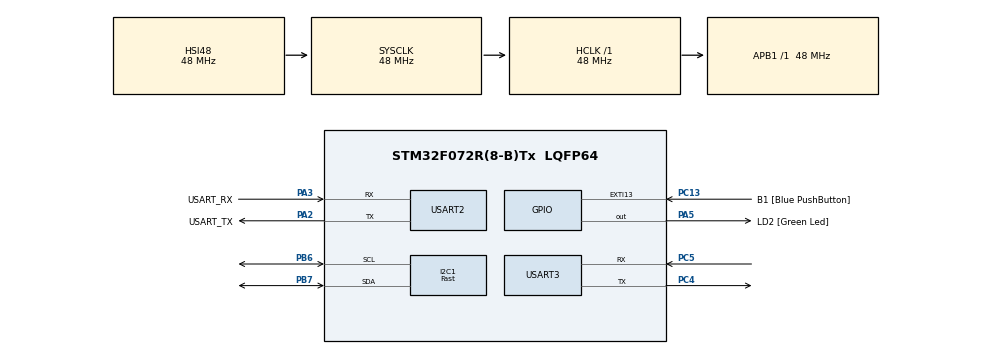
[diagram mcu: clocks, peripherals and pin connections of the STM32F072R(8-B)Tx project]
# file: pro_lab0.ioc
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I2C1.I2C_Speed_Mode=I2C_Fast
I2C1.Timing=0x0000020B
Mcu.Family=STM32F0
Mcu.Name=STM32F072R(8-B)Tx
Mcu.Package=LQFP64
NVIC.I2C1_IRQn=true\:0\:0\:false\:false\:true\:true\:true\:true
NVIC.USART3_4_IRQn=true\:0\:0\:false\:false\:true\:true\:true\:true
PA13.GPIO_Label=TMS
PA13.Mode=Serial_Wire
PA13.Signal=SYS_SWDIO
PA14.GPIO_Label=TCK
PA14.Mode=Serial_Wire
PA14.Signal=SYS_SWCLK
PA2.GPIO_Label=USART_TX
PA2.GPIO_Mode=GPIO_MODE_AF_PP
PA2.GPIO_PuPd=GPIO_NOPULL
PA2.GPIO_Speed=GPIO_SPEED_FREQ_LOW
PA2.Mode=Asynchronous
PA2.Signal=USART2_TX
PA3.GPIO_Label=USART_RX
PA3.GPIO_Mode=GPIO_MODE_AF_PP
PA3.GPIO_PuPd=GPIO_NOPULL
PA3.GPIO_Speed=GPIO_SPEED_FREQ_LOW
PA3.Mode=Asynchronous
PA3.Signal=USART2_RX
PA5.GPIO_Label=LD2 [Green Led]
PA5.GPIO_Mode=GPIO_MODE_OUTPUT_PP
PA5.GPIO_PuPd=GPIO_NOPULL
PA5.GPIO_Speed=GPIO_SPEED_FREQ_LOW
PA5.Signal=GPIO_Output
PB6.Mode=I2C
PB6.Signal=I2C1_SCL
PB7.Mode=I2C
PB7.Signal=I2C1_SDA
PC13.GPIO_Label=B1 [Blue PushButton]
PC13.GPIO_ModeDefaultEXTI=GPIO_MODE_IT_FALLING
PC13.Signal=GPXTI13
PC14-OSC32_IN.Mode=LSE-External-Oscillator
PC14-OSC32_IN.Signal=RCC_OSC32_IN
PC15-OSC32_OUT.Mode=LSE-External-Oscillator
PC15-OSC32_OUT.Signal=RCC_OSC32_OUT
PC4.Mode=Asynchronous
PC4.Signal=USART3_TX
PC5.Mode=Asynchronous
PC5.Signal=USART3_RX
PF0-OSC_IN.Mode=HSE-External-Clock-Source
PF0-OSC_IN.Signal=RCC_OSC_IN
PF1-OSC_OUT.Signal=RCC_OSC_OUT
ProjectManager.HeapSize=0x200
ProjectManager.StackSize=0x400
ProjectManager.TargetToolchain=MDK-ARM V5.32
RCC.AHBFreq_Value=48000000
RCC.APB1Freq_Value=48000000
RCC.APB1TimFreq_Value=48000000
RCC.FLatency-AdvancedSettings=FLASH_LATENCY_1
RCC.HCLKFreq_Value=48000000
RCC.PLLDivider=RCC_PREDIV_DIV2
RCC.PLLMUL=RCC_PLL_MUL12
RCC.PREFETCH_ENABLE-AdvancedSettings=1
RCC.SYSCLKFreq_VALUE=48000000
RCC.SYSCLKSource=RCC_SYSCLKSOURCE_HSI48
USART2.VirtualMode=VM_ASYNC
USART2.VirtualMode-Asynchronous=VM_ASYNC
USART3.VirtualMode-Asynchronous=VM_ASYNC
board=NUCLEO-F072RB

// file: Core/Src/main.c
/* USER CODE BEGIN Header */
/**
  ******************************************************************************
  * @file           : main.c
  * @brief          : Main program body
  ******************************************************************************
  * @attention
  *
  * Copyright (c) 2023 STMicroelectronics.
  * All rights reserved.
  *
  * This software is licensed under terms that can be found in the LICENSE file
  * in the root directory of this software component.
  * If no LICENSE file comes with this software, it is provided AS-IS.
  *
  ******************************************************************************
  */
/* USER CODE END Header */
#include "main.h"

/* USER CODE BEGIN PD */
#define MAX86150_Addr 0xBC //updated per I2Cscanner, 8 bit version of 7 bit code 0x5E
#define InterruptStatusReg1 0x00 //Interrupt status byte 0 (read both bytes 0x00 and 0x01 when checking int status)
#define InterruptStatusReg2 0x01
#define InterruptEnableReg1 0x02 //Interrupt enable byte 0
#define InterruptEnableReg2 0x03
#define FIFOWritePointerReg 0x04
#define OverflowCounterReg 0x05
#define FIFOReadPointerReg 0x06
#define FIFODataReg 0x07
#define FIFOConfigReg 0x08
#define FIFODataControlReg1 0x09
#define FIFODataControlReg2 0x0A
#define SystemControlReg 0x0D
#define ppgConfigReg0 0x0E
#define ppgConfigReg1 0x0F
#define ProxIntThreshReg 0x10
#define LED1PulseAmpReg 0x11
#define LED2PulseAmpReg 0x12
#define LEDRangeReg 0x14
#define LEDPilotPAReg 0x15
#define EcgConfigReg1 0x3C
#define EcgConfigReg2 0x3D
#define EcgConfigReg3 0x3E
#define EcgConfigReg4 0x3F
#define PartIDReg 0xFF
#define maxi2cFreq 1000000
#define recommendedi2cFreq 400000
#define interrupt_pin D12 //INTB pin --see InterruptIn declaration
#define maxECGrate 0
#define normECGrate 1
/* USER CODE END PD */

I2C_HandleTypeDef hi2c1;

UART_HandleTypeDef huart2;
UART_HandleTypeDef huart3;

void SystemClock_Config(void);
static void MX_GPIO_Init(void);
static void MX_I2C1_Init(void);
static void MX_USART2_UART_Init(void);
static void MX_USART3_UART_Init(void);
/* USER CODE BEGIN PFP */
	uint8_t Data[] = "123";
	float aaa = 0;
uint8_t tran[4];
int j;
/* USER CODE END PFP */

int main(void)
{
  /* USER CODE BEGIN 1 */
	uint8_t p[2];

	uint8_t start[3]={'o','k','\n'};
	uint8_t dd[3] = {'d','i','\n'};
	uint8_t buf[12]={0}; //receive data buffer
	uint32_t Elem[3];
	uint8_t pp=0 ;
	float ppg;
	float ecg;
	union Float_c {
		float m_float;
		uint8_t m_bytes[sizeof(float)];
	};
	union Float_c myFloat;
	int i;
	uint8_t dda=0x01;
  /* USER CODE END 1 */

  /* MCU Configuration--------------------------------------------------------*/

  /* Reset of all peripherals, Initializes the Flash interface and the Systick. */
  HAL_Init();

  /* Configure the system clock */
  SystemClock_Config();

  /* Initialize all configured peripherals */
  MX_GPIO_Init();
  MX_I2C1_Init();
  MX_USART2_UART_Init();
  MX_USART3_UART_Init();
  /* USER CODE BEGIN 2 */
//	HAL_I2C_Master_Transmit(&hi2c1,0xBC,p,2,100);
//  HAL_UARTEx_ReceiveToIdle_IT(&huart3, Data, 64);

	p[0]=0x0;
	p[1]=0;
//	if(HAL_I2C_Master_Transmit(&hi2c1,0x5e,p,2,100)==HAL_OK)
//	{
//		//if transmit is success, the function will
//		HAL_UART_Transmit(&huart3,start,3,100);
//		aaa = 5;
//		HAL_Delay(1000);
//	}

	HAL_I2C_Mem_Write(&hi2c1,0xbc,0x0d,1,&dda,1,100);
	HAL_Delay(3);
	dda = 0x04;
	HAL_I2C_Mem_Write(&hi2c1,0xbc,0x0d,1,&dda,1,100);
	dda = 0x09;
	HAL_I2C_Mem_Write(&hi2c1,0xbc,0x09,1,&dda,1,100);
	dda = 0x00;
	HAL_I2C_Mem_Write(&hi2c1,0xbc,0x0A,1,&dda,1,100);
	dda = 0X00;
	HAL_I2C_Mem_Write(&hi2c1,0xbc,0x3E,1,&dda,1,100);
	dda = 0xff;
	HAL_I2C_Mem_Write(&hi2c1,0xbc,0x11,1,&dda,1,100);
	HAL_I2C_Mem_Write(&hi2c1,0xbc,0x12,1,&dda,1,100);
	HAL_I2C_Mem_Write(&hi2c1,0xbc,0x15,1,&dda,1,100);
	dda = 0x80;
	HAL_I2C_Mem_Write(&hi2c1,0xbc,0x02,1,&dda,1,100);
////	dda = 0x04;
////	while(HAL_I2C_Mem_Write(&hi2c1,0xbc,0x0d,1,&dda,1,100)!=HAL_OK)	;//HAL_UART_Transmit(&huart3,(uint8_t*)("1"),2,100);
////	//HAL_Delay(10);
////	dda = 0x10;
////	while(HAL_I2C_Mem_Write(&hi2c1,0xbc,0x09,1,&dda,1,100)!=HAL_OK)	;//HAL_UART_Transmit(&huart3,(uint8_t*)("1"),2,100);
////	//HAL_Delay(10);
////	dda = 0x09;
////	while(HAL_I2C_Mem_Write(&hi2c1,0xbc,0x0A,1,&dda,1,100)!=HAL_OK)	;//HAL_UART_Transmit(&huart3,(uint8_t*)("1"),2,100);
////	//HAL_Delay(10);
////	dda = 0X00;
////	while(HAL_I2C_Mem_Write(&hi2c1,0xbc,0x3E,1,&dda,1,100)!=HAL_OK)	;//HAL_UART_Transmit(&huart3,(uint8_t*)("1"),2,100);
////	//HAL_Delay(10);
////	dda = 0xff;
////	while(HAL_I2C_Mem_Write(&hi2c1,0xbc,0x11,1,&dda,1,100)!=HAL_OK)	;//HAL_UART_Transmit(&huart3,(uint8_t*)("1"),2,100);
////	dda = 0xff;
////	while(HAL_I2C_Mem_Write(&hi2c1,0xbc,0x12,1,&dda,1,100)!=HAL_OK)	;//HAL_UART_Transmit(&huart3,(uint8_t*)("1"),2,100);
////	dda = 0xff;
////	while(HAL_I2C_Mem_Write(&hi2c1,0xbc,0x15,1,&dda,1,100)!=HAL_OK)	;//HAL_UART_Transmit(&huart3,(uint8_t*)("1"),2,100);	//HAL_Delay(10);
////	dda = 0x80;
////	while(HAL_I2C_Mem_Write(&hi2c1,0xbc,0x02,1,&dda,1,100)!=HAL_OK)	;//HAL_UART_Transmit(&huart3,(uint8_t*)("1"),2,100);
//	if(HAL_I2C_Mem_Write(&hi2c1,0xbc,0x0d,1,&dda,1,100)==HAL_OK)	HAL_UART_Transmit(&huart3,(uint8_t*)("1"),2,100);
//	HAL_Delay(10);
//	dda = 0x01;
//	if(HAL_I2C_Mem_Write(&hi2c1,0xbc,0x08,1,&dda,1,100)==HAL_OK)	HAL_UART_Transmit(&huart3,(uint8_t*)("2"),2,100);
//	HAL_Delay(10);
//	dda = 0x10;
//	if(HAL_I2C_Mem_Write(&hi2c1,0xbc,0x09,1,&dda,1,100)==HAL_OK)	HAL_UART_Transmit(&huart3,(uint8_t*)("3"),2,100);
//	HAL_Delay(10);
//	dda = 0x09;
//	if(HAL_I2C_Mem_Write(&hi2c1,0xbc,0x0A,1,&dda,1,100)==HAL_OK)	HAL_UART_Transmit(&huart3,(uint8_t*)("4"),2,100);
//	HAL_Delay(10);
//	dda = 0x05;
//	if(HAL_I2C_Mem_Write(&hi2c1,0xbc,0x14,1,&dda,1,100)==HAL_OK)	HAL_UART_Transmit(&huart3,(uint8_t*)("5"),2,100);
//	HAL_Delay(10);
//	dda = 0x00;
//	if(HAL_I2C_Mem_Write(&hi2c1,0xbc,0x3E,1,&dda,1,100)==HAL_OK)	HAL_UART_Transmit(&huart3,(uint8_t*)("5"),2,100);
//	HAL_Delay(10);
//	dda = 0x80;
//	if(HAL_I2C_Mem_Write(&hi2c1,0xbc,0x02,1,&dda,1,100)==HAL_OK)	HAL_UART_Transmit(&huart3,(uint8_t*)("6"),2,100);
//	HAL_Delay(10);

//		if(HAL_I2C_Master_Transmit(&hi2c1,0xbc,(uint8_t*)(0x0d04),2,100)==HAL_OK) HAL_UART_Transmit(&huart3,(uint8_t*)("12"),3,100);
//	HAL_Delay(10);
//	if(HAL_I2C_Master_Transmit(&hi2c1,0xbc,(uint8_t*)(0x0801),2,100)==HAL_OK) HAL_UART_Transmit(&huart3,(uint8_t*)("12"),3,100);
//	HAL_Delay(10);
////	HAL_I2C_Master_Transmit(&hi2c1,0xbc,(uint8_t*)(0x04),2,100);
////	HAL_Delay(100);
//	HAL_I2C_Master_Transmit(&hi2c1,0xbc,(uint8_t*)(0x0910),2,100);
//	HAL_Delay(10);
////	HAL_I2C_Master_Transmit(&hi2c1,0xbc,(uint8_t*)(0x10),2,100);
////	HAL_Delay(100);
//	HAL_I2C_Master_Transmit(&hi2c1,0xbc,(uint8_t*)(0x0A09),2,100);
//	HAL_Delay(10);
////	HAL_I2C_Master_Transmit(&hi2c1,0xbc,(uint8_t*)(0x09),2,100);
////	HAL_Delay(100);
//	HAL_I2C_Master_Transmit(&hi2c1,0xbc,(uint8_t*)(0x1405),2,100);
//	HAL_Delay(10);
////	HAL_I2C_Master_Transmit(&hi2c1,0xbc,(uint8_t*)(0x05),2,100);
////	HAL_Delay(100);
//	HAL_I2C_Master_Transmit(&hi2c1,0xbc,(uint8_t*)(0x0280),2,100);
//	HAL_Delay(10);
////	HAL_I2C_Master_Transmit(&hi2c1,0xbc,(uint8_t*)(0x80),2,100);
////	HAL_Delay(100);
//

// // HAL_UARTEx_ReceiveToIdle_IT(&huart4, Data, 64);
  /* USER CODE END 2 */

  /* Infinite loop */
  /* USER CODE BEGIN WHILE */
	tran[0] = '1';
		tran[1] = '1';
		tran[2] = 'k';
		tran[3] = '1';

	HAL_UART_Transmit(&huart3,tran,4,100);
HAL_Delay(3000);
  while (1)
  {

		pp = 0x00;

	//	HAL_I2C_Mem_Read(&hi2c1,0xbd,0x00,1,&dda,1,100);
	//	HAL_Delay(1);
		if(HAL_I2C_Master_Transmit(&hi2c1,0xbc,&pp,1,100)==HAL_OK){//access 0x00 register
			//aaa = 50;
			//j=HAL_I2C_Master_Receive(&hi2c1,0xBD,buf,1,100);
			if(HAL_I2C_Master_Receive(&hi2c1,0xbD,&buf[0],1,100)==HAL_OK){//receive answer
				if((buf[0]&0x80)>0){//FIFO status check
					pp=7;
					if(HAL_I2C_Master_Transmit(&hi2c1,0xBc,&pp,1,100)==HAL_OK){
						if(HAL_I2C_Master_Receive(&hi2c1,0xBD,buf,9,100)==HAL_OK){
							Elem[0] = ((buf[0]<<16) | (buf[1]<<8) | buf[2]) & 0x07ffff;//IIR
							Elem[1] = ((buf[3]<<16) | (buf[4]<<8) | buf[5]) & 0x07ffff;//PPG
							Elem[2] = ((buf[6]<<16) | (buf[7]<<8) | buf[8]) & 0x03ffff;//ECG
							ppg = (float) Elem[1];
							ecg = (float) Elem[2];
							HAL_UART_Transmit(&huart3,(uint8_t*)("1"),1,100);
							myFloat.m_float=(float) ppg;
							tran[0]=myFloat.m_bytes[0];
							tran[1]=myFloat.m_bytes[1];
							tran[2]=myFloat.m_bytes[2];
							tran[3]=myFloat.m_bytes[3];
							HAL_UART_Transmit(&huart3,tran,4,100);
							myFloat.m_float=(float) ecg;
							tran[0]=myFloat.m_bytes[0];
							tran[1]=myFloat.m_bytes[1];
							tran[2]=myFloat.m_bytes[2];
							tran[3]=myFloat.m_bytes[3];
							HAL_UART_Transmit(&huart3,tran,4,100);
						}
					}
				}
			}

		}
	//	aaa = ppg;
    /* USER CODE END WHILE */

    /* USER CODE BEGIN 3 */
	//	HAL_UART_Transmit(&huart3,start,2,100);
//		HAL_Delay(1);

  }
  /* USER CODE END 3 */
}

void SystemClock_Config(void)
{
  RCC_OscInitTypeDef RCC_OscInitStruct = {0};
  RCC_ClkInitTypeDef RCC_ClkInitStruct = {0};
  RCC_PeriphCLKInitTypeDef PeriphClkInit = {0};

  /** Initializes the RCC Oscillators according to the specified parameters
  * in the RCC_OscInitTypeDef structure.
  */
  RCC_OscInitStruct.OscillatorType = RCC_OSCILLATORTYPE_HSI|RCC_OSCILLATORTYPE_HSI48;
  RCC_OscInitStruct.HSIState = RCC_HSI_ON;
  RCC_OscInitStruct.HSI48State = RCC_HSI48_ON;
  RCC_OscInitStruct.HSICalibrationValue = RCC_HSICALIBRATION_DEFAULT;
  RCC_OscInitStruct.PLL.PLLState = RCC_PLL_NONE;
  if (HAL_RCC_OscConfig(&RCC_OscInitStruct) != HAL_OK)
  {
    Error_Handler();
  }

  /** Initializes the CPU, AHB and APB buses clocks
  */
  RCC_ClkInitStruct.ClockType = RCC_CLOCKTYPE_HCLK|RCC_CLOCKTYPE_SYSCLK
                              |RCC_CLOCKTYPE_PCLK1;
  RCC_ClkInitStruct.SYSCLKSource = RCC_SYSCLKSOURCE_HSI48;
  RCC_ClkInitStruct.AHBCLKDivider = RCC_SYSCLK_DIV1;
  RCC_ClkInitStruct.APB1CLKDivider = RCC_HCLK_DIV1;

  if (HAL_RCC_ClockConfig(&RCC_ClkInitStruct, FLASH_LATENCY_1) != HAL_OK)
  {
    Error_Handler();
  }
  PeriphClkInit.PeriphClockSelection = RCC_PERIPHCLK_USART2|RCC_PERIPHCLK_I2C1;
  PeriphClkInit.Usart2ClockSelection = RCC_USART2CLKSOURCE_PCLK1;
  PeriphClkInit.I2c1ClockSelection = RCC_I2C1CLKSOURCE_HSI;
  if (HAL_RCCEx_PeriphCLKConfig(&PeriphClkInit) != HAL_OK)
  {
    Error_Handler();
  }
}

static void MX_I2C1_Init(void)
{

  hi2c1.Instance = I2C1;
  hi2c1.Init.Timing = 0x0000020B;
  hi2c1.Init.OwnAddress1 = 0;
  hi2c1.Init.AddressingMode = I2C_ADDRESSINGMODE_7BIT;
  hi2c1.Init.DualAddressMode = I2C_DUALADDRESS_DISABLE;
  hi2c1.Init.OwnAddress2 = 0;
  hi2c1.Init.OwnAddress2Masks = I2C_OA2_NOMASK;
  hi2c1.Init.GeneralCallMode = I2C_GENERALCALL_DISABLE;
  hi2c1.Init.NoStretchMode = I2C_NOSTRETCH_DISABLE;
  if (HAL_I2C_Init(&hi2c1) != HAL_OK)
  {
    Error_Handler();
  }

  /** Configure Analogue filter
  */
  if (HAL_I2CEx_ConfigAnalogFilter(&hi2c1, I2C_ANALOGFILTER_ENABLE) != HAL_OK)
  {
    Error_Handler();
  }

  /** Configure Digital filter
  */
  if (HAL_I2CEx_ConfigDigitalFilter(&hi2c1, 0) != HAL_OK)
  {
    Error_Handler();
  }

}

static void MX_USART2_UART_Init(void)
{

  huart2.Instance = USART2;
  huart2.Init.BaudRate = 38400;
  huart2.Init.WordLength = UART_WORDLENGTH_8B;
  huart2.Init.StopBits = UART_STOPBITS_1;
  huart2.Init.Parity = UART_PARITY_NONE;
  huart2.Init.Mode = UART_MODE_TX_RX;
  huart2.Init.HwFlowCtl = UART_HWCONTROL_NONE;
  huart2.Init.OverSampling = UART_OVERSAMPLING_16;
  huart2.Init.OneBitSampling = UART_ONE_BIT_SAMPLE_DISABLE;
  huart2.AdvancedInit.AdvFeatureInit = UART_ADVFEATURE_NO_INIT;
  if (HAL_UART_Init(&huart2) != HAL_OK)
  {
    Error_Handler();
  }

}

static void MX_USART3_UART_Init(void)
{

  huart3.Instance = USART3;
  huart3.Init.BaudRate = 38400;
  huart3.Init.WordLength = UART_WORDLENGTH_8B;
  huart3.Init.StopBits = UART_STOPBITS_1;
  huart3.Init.Parity = UART_PARITY_NONE;
  huart3.Init.Mode = UART_MODE_TX_RX;
  huart3.Init.HwFlowCtl = UART_HWCONTROL_NONE;
  huart3.Init.OverSampling = UART_OVERSAMPLING_16;
  huart3.Init.OneBitSampling = UART_ONE_BIT_SAMPLE_DISABLE;
  huart3.AdvancedInit.AdvFeatureInit = UART_ADVFEATURE_NO_INIT;
  if (HAL_UART_Init(&huart3) != HAL_OK)
  {
    Error_Handler();
  }

}

static void MX_GPIO_Init(void)
{
  GPIO_InitTypeDef GPIO_InitStruct = {0};

  /* GPIO Ports Clock Enable */
  __HAL_RCC_GPIOC_CLK_ENABLE();
  __HAL_RCC_GPIOF_CLK_ENABLE();
  __HAL_RCC_GPIOA_CLK_ENABLE();
  __HAL_RCC_GPIOB_CLK_ENABLE();

  /*Configure GPIO pin Output Level */
  HAL_GPIO_WritePin(LD2_GPIO_Port, LD2_Pin, GPIO_PIN_RESET);

  /*Configure GPIO pin : B1_Pin */
  GPIO_InitStruct.Pin = B1_Pin;
  GPIO_InitStruct.Mode = GPIO_MODE_IT_FALLING;
  GPIO_InitStruct.Pull = GPIO_NOPULL;
  HAL_GPIO_Init(B1_GPIO_Port, &GPIO_InitStruct);

  /*Configure GPIO pin : LD2_Pin */
  GPIO_InitStruct.Pin = LD2_Pin;
  GPIO_InitStruct.Mode = GPIO_MODE_OUTPUT_PP;
  GPIO_InitStruct.Pull = GPIO_NOPULL;
  GPIO_InitStruct.Speed = GPIO_SPEED_FREQ_LOW;
  HAL_GPIO_Init(LD2_GPIO_Port, &GPIO_InitStruct);

}

/* USER CODE BEGIN 4 */
void HAL_UARTEx_RxEventCallback(UART_HandleTypeDef *huart, uint16_t Size)
{
	if (huart->Instance==USART3)
	{
		HAL_UART_Transmit(&huart3, Data, Size, 1000);
	}
	HAL_UARTEx_ReceiveToIdle_IT(huart, Data, 64);
}
/* USER CODE END 4 */

void Error_Handler(void)
{
  __disable_irq();
  while (1)
  {
  }
}
